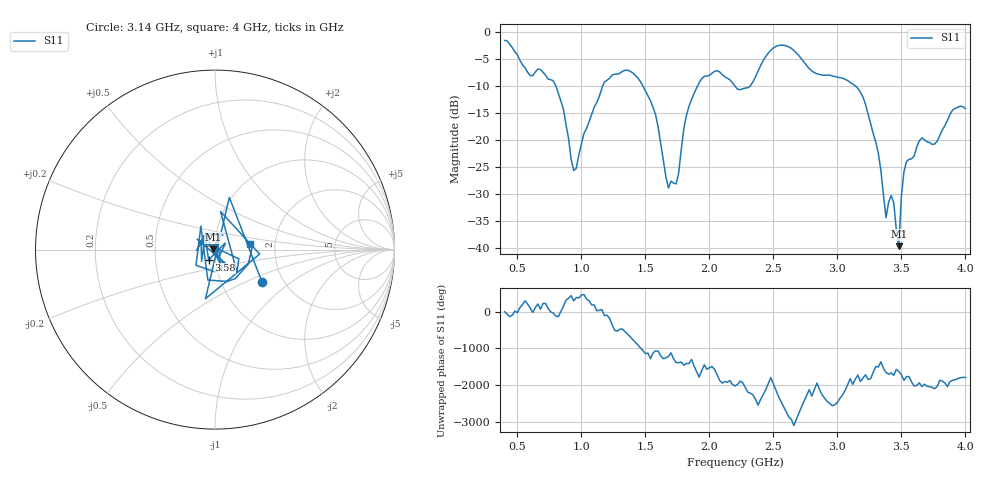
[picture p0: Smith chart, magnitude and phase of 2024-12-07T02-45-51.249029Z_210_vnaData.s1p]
!Created with skrf (http://scikit-rf.org).
# Hz S RI R 50.0
!freq ReS11 ImS11
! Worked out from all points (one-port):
!   181 points, 400 MHz to 4 GHz, reference 50 ohm
!   lowest |S11| = -39.6 dB at 3.48 GHz (marker M1), VSWR 1.02, Z = 49 + j0.0954 ohm
!   |S11| at or under -10 dB: 801.3 MHz to 1.167 GHz (365.3 MHz wide, 37.1 % of centre); 1.481 GHz to 1.907 GHz (425.4 MHz wide, 25.1 % of centre); 3.143 GHz to end of sweep (the widest 3 of 4)
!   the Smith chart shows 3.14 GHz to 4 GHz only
!   S11 on the Smith chart (normalised r, x): 3.14 GHz: 1.56, -0.63; 3.58 GHz: 0.93, -0.11; 4 GHz: 1.48, +0.09
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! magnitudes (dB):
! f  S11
! 400 MHz  -1.5
! 600 MHz  -8.0
! 780 MHz  -9.0
! 860 MHz  -14.3
! 940 MHz  -25.6
! 1.18 GHz  -9.2
! 1.3 GHz  -7.6
! 1.4 GHz  -7.5
! 1.54 GHz  -12.7
! 1.68 GHz  -28.8
! 1.76 GHz  -26.0
! 1.82 GHz  -15.4
! 1.94 GHz  -8.6
! 2.2 GHz  -10.0
! 2.32 GHz  -10.0
! 2.5 GHz  -2.9
! 2.66 GHz  -3.4
! 3.1 GHz  -9.3
! 3.14 GHz  -9.9
! 3.3 GHz  -20.3
! 3.38 GHz  -34.3
! 3.44 GHz  -31.5
! 3.48 GHz  -39.6
! 3.5 GHz  -30.3
! 3.52 GHz  -25.8
! 3.56 GHz  -23.5
! 3.58 GHz  -23.4
! 4 GHz  -14.1
